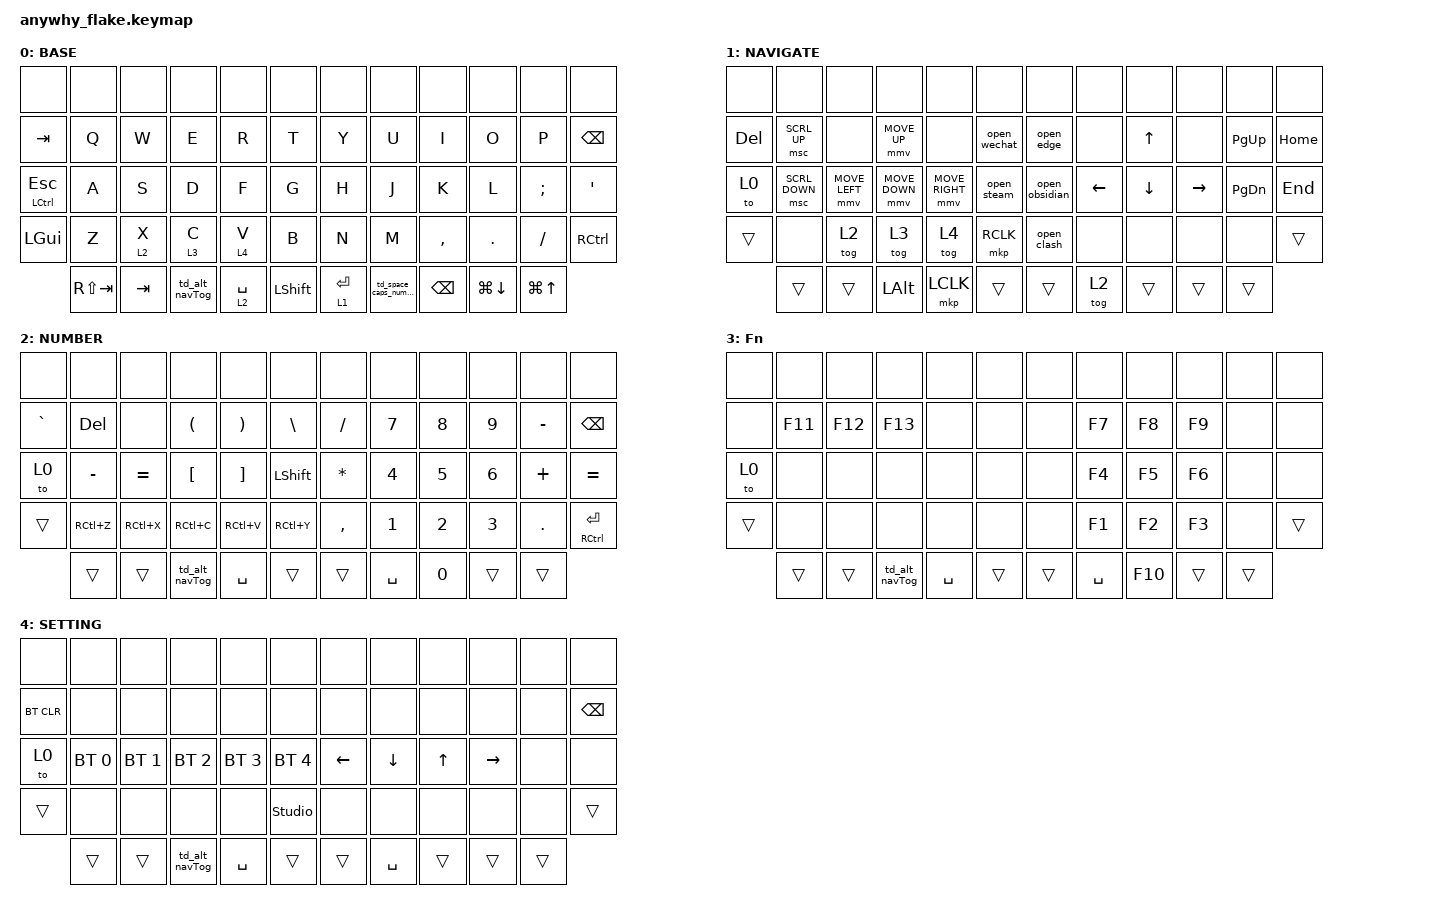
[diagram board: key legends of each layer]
#define ZMK_POINTING_DEFAULT_MOVE_VAL 1200  // default: 600
#define ZMK_POINTING_DEFAULT_SCRL_VAL 250    // default: 10

#include <behaviors.dtsi>
#include <dt-bindings/zmk/bt.h>
#include <dt-bindings/zmk/keys.h>
#include <dt-bindings/zmk/pointing.h>

/ {
    combos {
        compatible = "zmk,combos";

        minus {
            bindings = <&kp MINUS>;
            key-positions = <31 32>;
        };

        dash {
            bindings = <&kp RS(MINUS)>;
            key-positions = <31 32 33>;
        };

        LPAr {
            bindings = <&kp LPAR>;
            key-positions = <28 27>;
        };

        RPAr {
            bindings = <&kp RPAR>;
            key-positions = <28 27 26>;
        };

        softoff {
            bindings = <&soft_off>;
            key-positions = <13 26 37>;
        };
    };

    macros {
        open_edge: open_edge {
            compatible = "zmk,behavior-macro";
            #binding-cells = <0>;
            bindings =
                <&macro_tap>,
                <&kp LEFT_GUI>,
                <&macro_wait_time 10>,
                <&kp E &kp D &kp G &kp E>,
                <&macro_wait_time 10>,
                <&kp ENTER>;

            label = "OPEN_EDGE";
        };

        open_obsidian: open_obsidian {
            compatible = "zmk,behavior-macro";
            #binding-cells = <0>;
            bindings =
                <&macro_tap>,
                <&kp LEFT_GUI>,
                <&macro_wait_time 10>,
                <&kp O &kp B &kp S &kp I &kp D &kp I &kp A &kp N>,
                <&macro_wait_time 10>,
                <&kp ENTER>;

            label = "OPEN_OBSIDIAN";
        };

        open_clash: open_clash {
            compatible = "zmk,behavior-macro";
            #binding-cells = <0>;
            bindings =
                <&macro_tap>,
                <&kp LEFT_GUI>,
                <&macro_wait_time 10>,
                <&kp C &kp L &kp A &kp S &kp H>,
                <&macro_wait_time 10>,
                <&kp ENTER>;

            label = "OPEN_CLASH";
        };

        open_wechat: open_wechat {
            compatible = "zmk,behavior-macro";
            #binding-cells = <0>;
            bindings =
                <&macro_tap>,
                <&kp LEFT_GUI>,
                <&macro_wait_time 10>,
                <&kp W &kp E &kp C &kp H &kp A &kp T>,
                <&macro_wait_time 10>,
                <&kp ENTER>;

            label = "OPEN_WECHAT";
        };

        open_steam: open_steam {
            compatible = "zmk,behavior-macro";
            #binding-cells = <0>;
            bindings =
                <&macro_tap>,
                <&kp LEFT_GUI>,
                <&macro_wait_time 10>,
                <&kp S &kp T &kp E &kp A &kp M>,
                <&macro_wait_time 10>,
                <&kp ENTER>;

            label = "OPEN_STEAM";
        };
    };

    behaviors {
        td_alt_navTog: td_alt_navTog {
            compatible = "zmk,behavior-tap-dance";
            label = "TD_ALT_NAVTOG";
            #binding-cells = <0>;
            bindings = <&mt LEFT_ALT LEFT_ALT>, <&to 1>;
        };

        td_space_caps_numMo: td_space_caps_numMo {
            compatible = "zmk,behavior-tap-dance";
            label = "TD_SPACE_CAPS_NUMMO";
            #binding-cells = <0>;
            bindings = <&lt 2 SPACE>, <&kp CAPS>;
        };
    };

    keymap {
        compatible = "zmk,keymap";

        BASE {
            bindings = <
&none          &none        &none    &none           &none        &none             &none        &none                 &none          &none         &none       &none
&kp TAB        &kp Q        &kp W    &kp E           &kp R        &kp T             &kp Y        &kp U                 &kp I          &kp O         &kp P       &kp BSPC
&mt LCTRL ESC  &kp A        &kp S    &kp D           &kp F        &kp G             &kp H        &kp J                 &kp K          &kp L         &kp SEMI    &kp APOS
&kp LEFT_GUI   &kp Z        &lt 2 X  &lt 3 C         &lt 4 V      &kp B             &kp N        &kp M                 &kp COMMA      &kp DOT       &kp FSLH    &kp RCTRL
               &kp RS(TAB)  &kp TAB  &td_alt_navTog  &lt 2 SPACE  &kp LEFT_SHIFT    &lt 1 ENTER  &td_space_caps_numMo  &kp BACKSPACE  &kp LG(DOWN)  &kp LG(UP)
            >;
        };

        NAVIGATE {
            bindings = <
&none       &none           &none           &none           &none            &none           &none           &none     &none     &none      &none          &none
&kp DELETE  &msc SCRL_UP    &none           &mmv MOVE_UP    &none            &open_wechat    &open_edge      &none     &kp UP    &none      &kp PAGE_UP    &kp HOME
&to 0       &msc SCRL_DOWN  &mmv MOVE_LEFT  &mmv MOVE_DOWN  &mmv MOVE_RIGHT  &open_steam     &open_obsidian  &kp LEFT  &kp DOWN  &kp RIGHT  &kp PAGE_DOWN  &kp END
&trans      &none           &tog 2          &tog 3          &tog 4           &mkp RCLK       &open_clash     &none     &none     &none      &none          &trans
            &trans          &trans          &kp LEFT_ALT    &mkp LCLK        &trans          &trans          &tog 2    &trans    &trans     &trans
            >;
        };

        NUMBER {
            bindings = <
&none      &none      &none      &none           &none      &none             &none      &none      &none   &none   &none      &none
&kp GRAVE  &kp DEL    &none      &kp LPAR        &kp RPAR   &kp BSLH          &kp SLASH  &kp N7     &kp N8  &kp N9  &kp MINUS  &kp BACKSPACE
&to 0      &kp MINUS  &kp EQUAL  &kp LBKT        &kp RBKT   &kp LEFT_SHIFT    &kp STAR   &kp N4     &kp N5  &kp N6  &kp PLUS   &kp EQUAL
&trans     &kp RC(Z)  &kp RC(X)  &kp RC(C)       &kp RC(V)  &kp RC(Y)         &kp COMMA  &kp N1     &kp N2  &kp N3  &kp DOT    &mt RCTRL ENTER
           &trans     &trans     &td_alt_navTog  &kp SPACE  &trans            &trans     &kp SPACE  &kp N0  &trans  &trans
            >;
        };

        Fn {
            bindings = <
&none   &none    &none    &none           &none      &none     &none   &none      &none    &none   &none   &none
&none   &kp F11  &kp F12  &kp F13         &none      &none     &none   &kp F7     &kp F8   &kp F9  &none   &none
&to 0   &none    &none    &none           &none      &none     &none   &kp F4     &kp F5   &kp F6  &none   &none
&trans  &none    &none    &none           &none      &none     &none   &kp F1     &kp F2   &kp F3  &none   &trans
        &trans   &trans   &td_alt_navTog  &kp SPACE  &trans    &trans  &kp SPACE  &kp F10  &trans  &trans
            >;
        };

        SETTING {
            bindings = <
&none       &none         &none         &none           &none         &none             &none     &none      &none   &none      &none   &none
&bt BT_CLR  &none         &none         &none           &none         &none             &none     &none      &none   &none      &none   &kp BACKSPACE
&to 0       &bt BT_SEL 0  &bt BT_SEL 1  &bt BT_SEL 2    &bt BT_SEL 3  &bt BT_SEL 4      &kp LEFT  &kp DOWN   &kp UP  &kp RIGHT  &none   &none
&trans      &none         &none         &none           &none         &studio_unlock    &none     &none      &none   &none      &none   &trans
            &trans        &trans        &td_alt_navTog  &kp SPACE     &trans            &trans    &kp SPACE  &trans  &trans     &trans
            >;
        };
    };
};
